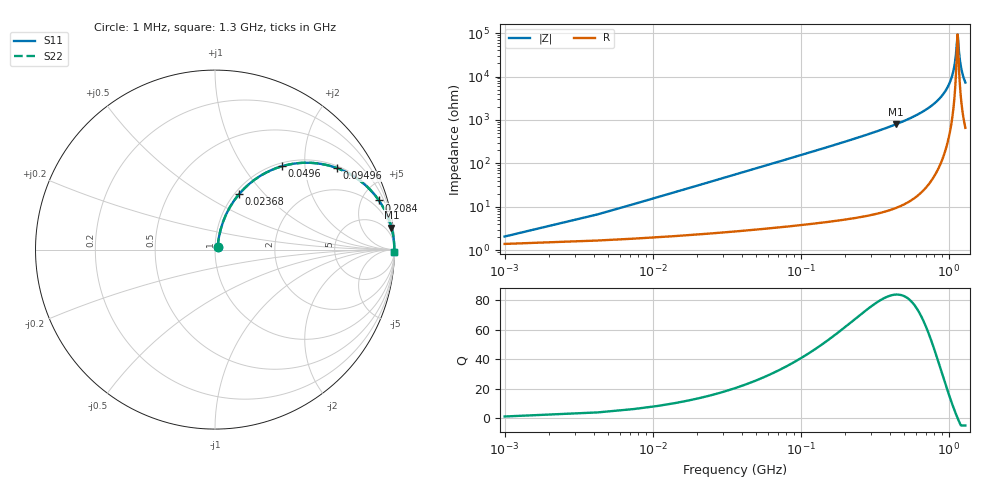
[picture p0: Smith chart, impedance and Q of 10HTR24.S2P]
! Coilcraft 1008HT-R24 Chip Inductor
! 16 July 2002
# MHZ S MA R 50
!Freq  MagS11  AngS11  MagS21  AngS21  MagS12  AngS12  MagS22  AngS22
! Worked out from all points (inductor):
!   402 points, 1 MHz to 1.3 GHz, reference 50 ohm
!   read as one part in series: L = 245 nH near 7.48 MHz
!   highest Q = 84 at 441.6 MHz (marker M1), where L = 287 nH
!   self-resonance near 1.151 GHz
!   S11 on the Smith chart (normalised r, x): 1 MHz: 1.03, +0.03; 23.68 MHz: 1.05, +0.73; 49.6 MHz: 1.06, +1.53; 94.96 MHz: 1.07, +2.94; 208.4 MHz: 1.10, +6.63; 1.3 GHz: open
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1  0.0206 46.6  0.986 -0.9  0.986 -0.9  0.0206 46.6
10.72  0.1609 73.9  0.9677 -9.2  0.9677 -9.2  0.1609 73.9
17.2  0.2516 70.6  0.9468 -14.5  0.9468 -14.5  0.2516 70.6
23.68  0.3361 66.6  0.9197 -19.6  0.9197 -19.6  0.3361 66.6
49.6  0.5967 51.1  0.7794 -36.6  0.7794 -36.6  0.5967 51.1
94.96  0.8176 33.7  0.5553 -54.8  0.5553 -54.8  0.8176 33.7
140.32  0.9031 24.3  0.4118 -64.5  0.4118 -64.5  0.9031 24.3
208.36  0.9533 16.7  0.2874 -72.4  0.2874 -72.4  0.9533 16.7
218.08  0.9573 16.0  0.2749 -73.2  0.2749 -73.2  0.9573 16.0
435.16  0.9904 7.3  0.1267 -82.0  0.1267 -82.0  0.9904 7.3
441.64  0.9908 7.1  0.1243 -82.2  0.1243 -82.2  0.9908 7.1
652.24  0.9968 3.9  0.06742 -85.3  0.06742 -85.3  0.9968 3.9
869.32  0.9986 1.8  0.03209 -86.6  0.03209 -86.6  0.9986 1.8
1002.16  0.9989 0.9  0.01572 -85.6  0.01572 -85.6  0.9989 0.9
1086.4  0.999 0.4  0.006631 -80.8  0.006631 -80.8  0.999 0.4
1115.56  0.9989 0.2  0.003714 -73.5  0.003714 -73.5  0.9989 0.2
1151.2  0.9989 0.0  0.001079 -1.1  0.001079 -1.1  0.9989 0.0
1157.68  0.9989 -0.0  0.001246 29.4  0.001246 29.4  0.9989 -0.0
1183.6  0.9989 -0.2  0.003301 70.1  0.003301 70.1  0.9989 -0.2
1209.52  0.9988 -0.3  0.005667 78.1  0.005667 78.1  0.9988 -0.3
1248.4  0.9988 -0.5  0.009199 82.1  0.009199 82.1  0.9988 -0.5
1300  0.9987 -0.8  0.01376 84.0  0.01376 84.0  0.9987 -0.8
